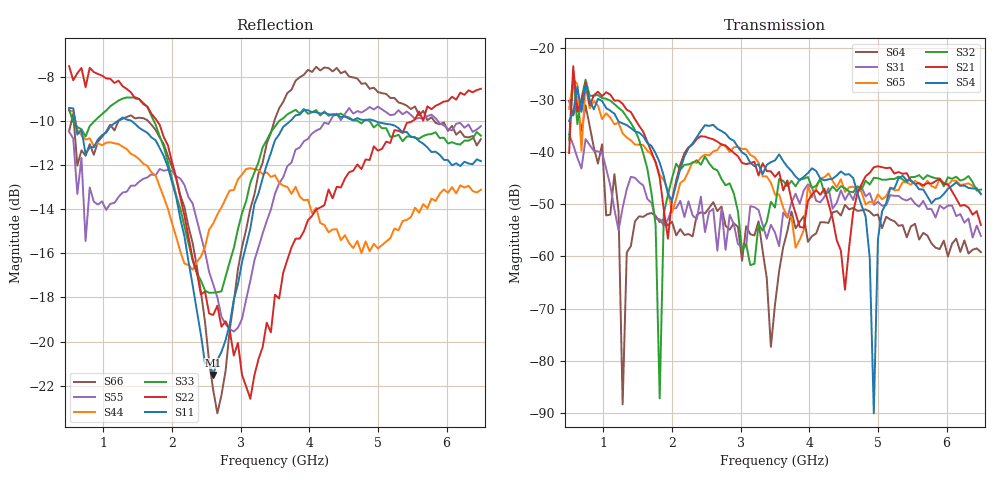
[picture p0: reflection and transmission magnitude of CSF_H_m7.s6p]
!Keysight Technologies,M9804A,MY58100912,A.14.10.03
!Date: Thursday, April 27, 2023 10:28:33
!Correction: S11(C  6-Port  )
!S12(C  6-Port  )
!S13(C  6-Port  )
!S14(C  6-Port  )
!S15(C  6-Port  )
!S16(C  6-Port  )
!S21(C  6-Port  )
!S22(C  6-Port  )
!S23(C  6-Port  )
!S24(C  6-Port  )
!S25(C  6-Port  )
!S26(C  6-Port  )
!S31(C  6-Port  )
!S32(C  6-Port  )
!S33(C  6-Port  )
!S34(C  6-Port  )
!S35(C  6-Port  )
!S36(C  6-Port  )
!S41(C  6-Port  )
!S42(C  6-Port  )
!S43(C  6-Port  )
!S44(C  6-Port  )
!S45(C  6-Port  )
!S46(C  6-Port  )
!S51(C  6-Port  )
!S52(C  6-Port  )
!S53(C  6-Port  )
!S54(C  6-Port  )
!S55(C  6-Port  )
!S56(C  6-Port  )
!S61(C  6-Port  )
!S62(C  6-Port  )
!S63(C  6-Port  )
!S64(C  6-Port  )
!S65(C  6-Port  )
!S66(C  6-Port  )
!S6P File: Measurement: :
# Hz S  RI  R 50
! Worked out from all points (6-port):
!   101 points, 500 MHz to 6.5 GHz, reference 50 ohm
!   strongest paths, dB at 500 MHz, 2 GHz, 3.5 GHz, 5 GHz, 6.5 GHz:
!     S54: -34.0, -49.2, -41.6, -56.7, -48.0
!     S21: -40.1, -49.1, -44.7, -42.7, -53.9
!     S32: -37.5, -44.9, -50.6, -45.0, -47.1
!     S65: -31.7, -51.6, -48.1, -48.1, -48.1
!     S31: -36.6, -50.8, -55.4, -49.5, -56.1
!     S64: -30.1, -53.3, -69.2, -51.9, -59.2
!   lowest |S11| = -21.5 dB at 2.6 GHz (marker M1), VSWR 1.18, Z = 42.5 + j2.14 ohm
!   |S11| at or under -10 dB: 589.9 MHz to 1.2 GHz (609.7 MHz wide, 68.1 % of centre); 1.417 GHz to 3.716 GHz (2.299 GHz wide, 89.6 % of centre); 4.972 GHz to end of sweep
